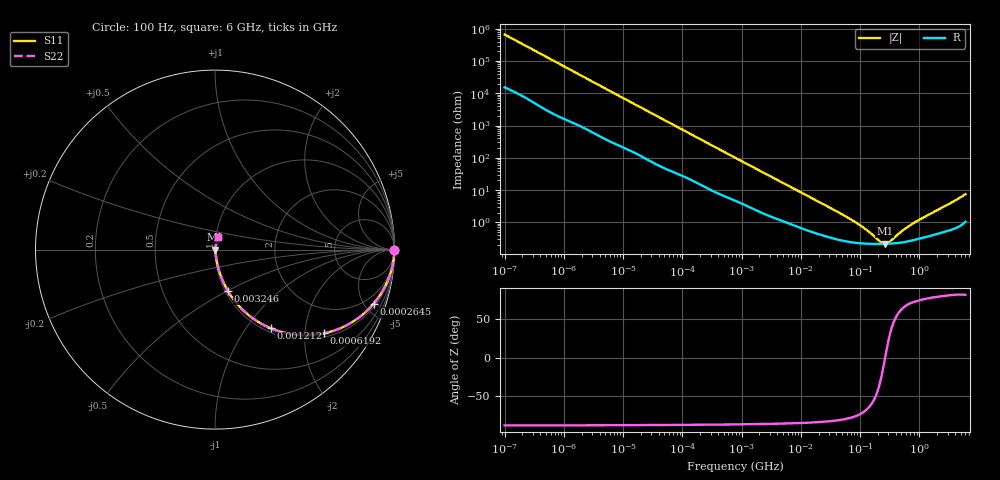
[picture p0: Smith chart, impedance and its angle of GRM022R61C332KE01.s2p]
!Murata Part Number: GRM022R61C332KE01
!These Parameters are Measured in Series Mode Connection
!Data Generated on Mar 30, 2021
!  o--ll--o
!Port1  Port2
!  o------o
!Operation Temp=25[degC], DC Bias Voltage=0[V]
!Freq. Start=100[Hz] Stop=6[GHz] 401[Steps]
# Hz S RI R 50
!Freq.(Hz) S11(Real) S11(Imag) S21(Real) S21(Imag) S12(Real) S12(Imag) S22(Real) S22(Imag)
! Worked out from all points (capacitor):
!   401 points, 100 Hz to 6 GHz, reference 50 ohm
!   read as one part in series: C = 2.39 nF near 109 Hz
!   lowest |Z| = 217 mohm at 261.2 MHz (marker M1)
!   series resonance near 265.2 MHz, so ESL is about 150 pH
!   S11 on the Smith chart (normalised r, x): 100 Hz: open; 264.5 kHz: 1.23, -5.77; 619.2 kHz: 1.11, -2.51; 1.212 MHz: 1.07, -1.31; 3.246 MHz: 1.03, -0.50; 6 GHz: 1.02, +0.15
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100  1 -0.000151  3.5e-06 0.000151  3.5e-06 0.000151  1 -0.000151
2008  0.9999 -0.0029  8.48e-05 0.0029  8.48e-05 0.0029  0.9999 -0.0029
12592  0.9992 -0.0176  0.000849 0.0176  0.000849 0.0176  0.9992 -0.0176
40335  0.9952 -0.0548  0.00475 0.0548  0.00475 0.0548  0.9952 -0.0548
108014  0.9744 -0.1402  0.0256 0.1402  0.0256 0.1402  0.9744 -0.1402
264476  0.8835 -0.3018  0.1165 0.3018  0.1165 0.3018  0.8835 -0.3018
395726  0.7817 -0.3931  0.2183 0.3931  0.2183 0.3931  0.7817 -0.3931
619225  0.6079 -0.4664  0.3921 0.4664  0.3921 0.4664  0.6079 -0.4664
774597  0.5056 -0.4771  0.4944 0.4771  0.4944 0.4771  0.5056 -0.4771
1212075  0.3095 -0.438  0.6905 0.438  0.6905 0.438  0.3095 -0.438
1983483  0.1547 -0.3362  0.8453 0.3362  0.8453 0.3362  0.1547 -0.3362
3245845  0.0716 -0.2304  0.9284 0.2304  0.9284 0.2304  0.0716 -0.2304
6644369  0.024 -0.122  0.976 0.122  0.976 0.122  0.024 -0.122
1.555665e7  0.00799 -0.0548  0.992 0.0548  0.992 0.0548  0.00799 -0.0548
8.154455e7  0.00244 -0.0101  0.9976 0.0101  0.9976 0.0101  0.00244 -0.0101
1.334425e8  0.0022 -0.00511  0.9978 0.00511  0.9978 0.00511  0.0022 -0.00511
2.183701e8  0.00215 -0.00134  0.9979 0.00134  0.9979 0.00134  0.00215 -0.00134
2.61201e8  0.00216 -0.000102  0.9978 0.000102  0.9978 0.000102  0.00216 -0.000102
3.124326e8  0.00219 0.00113  0.9978 -0.00113  0.9978 -0.00113  0.00219 0.00113
5.112761e8  0.0024 0.00482  0.9976 -0.00482  0.9976 -0.00482  0.0024 0.00482
7.650043e8  0.00284 0.00853  0.9972 -0.00853  0.9972 -0.00853  0.00284 0.00853
6e9  0.0156 0.0722  0.9844 -0.0722  0.9844 -0.0722  0.0156 0.0722
